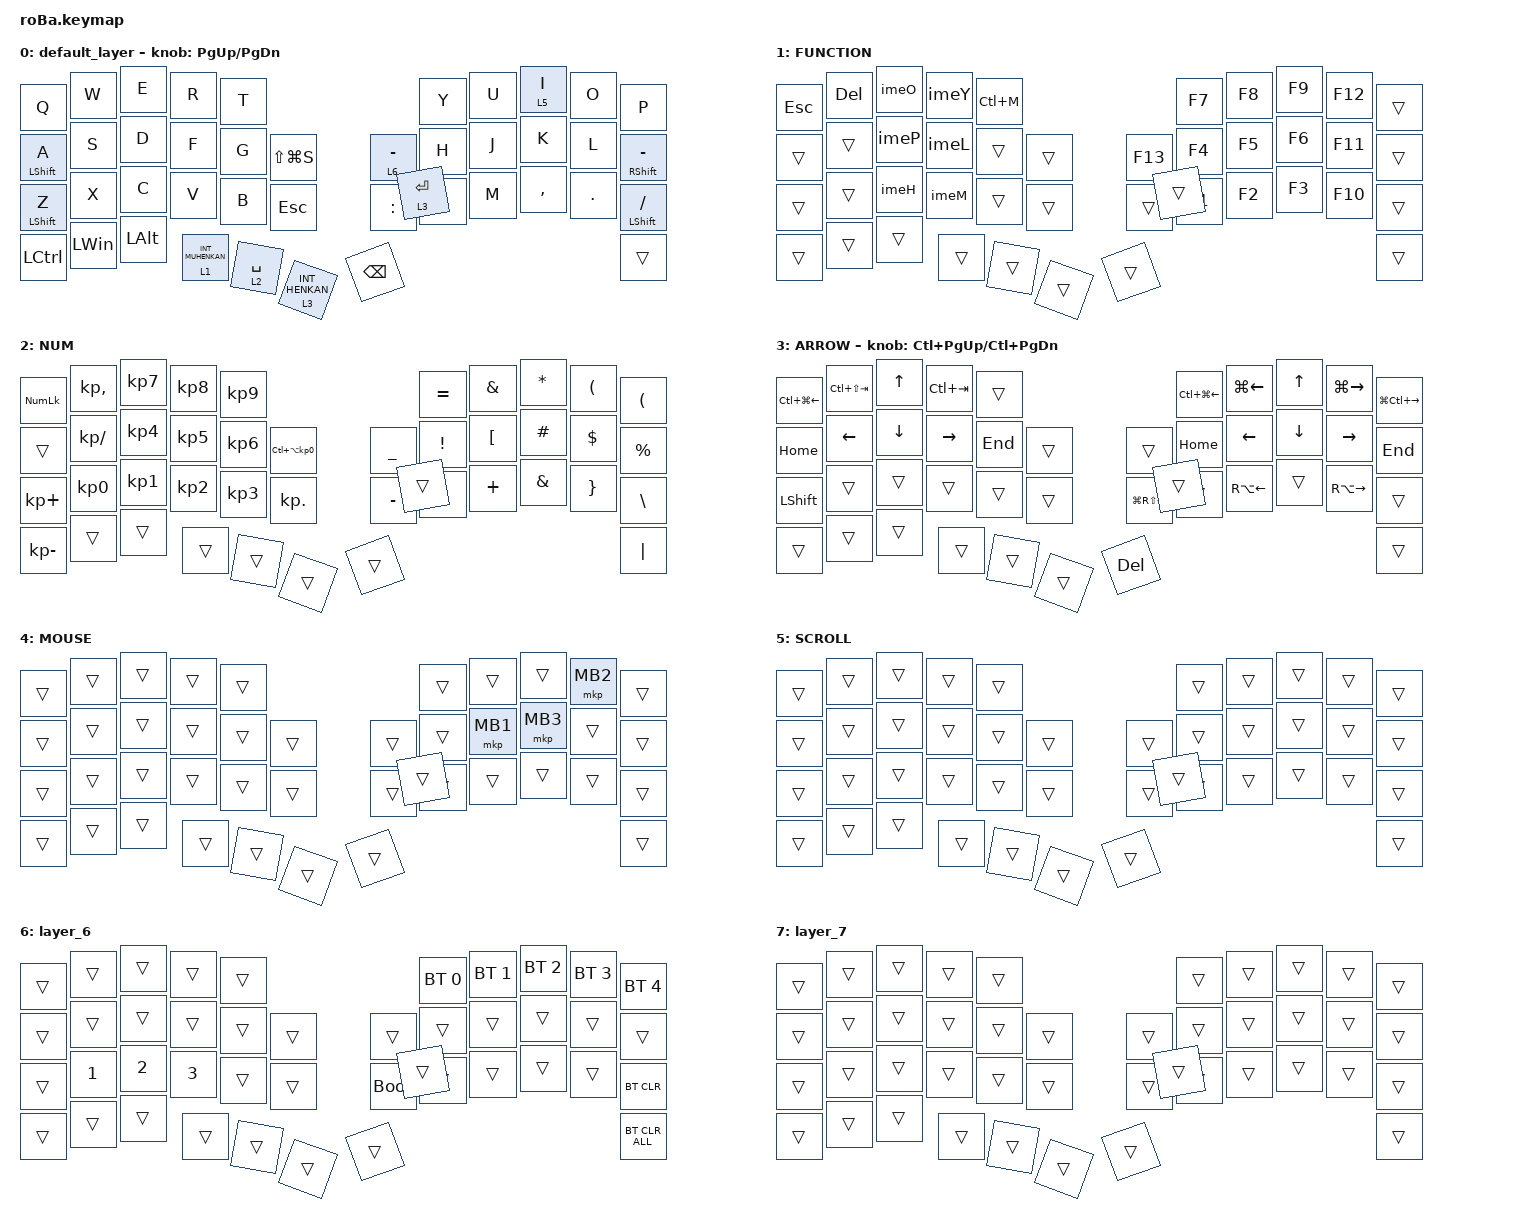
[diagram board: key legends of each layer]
#include <behaviors.dtsi>
#include <dt-bindings/zmk/bt.h>
#include <dt-bindings/zmk/keys.h>
#include <dt-bindings/zmk/pointing.h>

&mt {
    flavor = "balanced";
    quick-tap-ms = <0>;
};

&trackball {
    automouse-layer = <4>;
    scroll-layers = <5>;

    // arrows {
    //     layers = <3>;
    //     bindings =
    //         <&kp RIGHT_ARROW>,
    //         <&kp LEFT_ARROW>,
    //         <&kp UP_ARROW>,
    //         <&kp DOWN_ARROW>;
    //     tick = <10>;
    //     wait-ms = <5>;
    //     tap-ms = <5>;
    // };
};

/ {
    combos {
        compatible = "zmk,combos";

        tab {
            bindings = <&kp TAB>;
            key-positions = <11 12>;
        };

        maiku {
            bindings = <&kp LG(H)>;
            key-positions = <33 42>;
        };
    };

    macros {
        to_layer_0: to_layer_0 {
            compatible = "zmk,behavior-macro-one-param";
            #binding-cells = <1>;
            bindings = <&to 0 &macro_param_1to1 &kp MACRO_PLACEHOLDER>;
            label = "TO_LAYER_0";
        };

        imeM: Mmukennkan {
            compatible = "zmk,behavior-macro";
            #binding-cells = <0>;
            bindings = <&kp INT_MUHENKAN &kp M>;
            label = "MMUKENNKAN";
        };

        imeL: imeL {
            compatible = "zmk,behavior-macro";
            #binding-cells = <0>;
            bindings = <&kp INT_MUHENKAN &kp L>;
            label = "IMEL";
        };

        imeY: imeY {
            compatible = "zmk,behavior-macro";
            #binding-cells = <0>;
            bindings = <&kp INT_MUHENKAN &kp Y>;
            label = "IMEY";
        };

        imeO: imeO {
            compatible = "zmk,behavior-macro";
            #binding-cells = <0>;
            bindings = <&kp INT_MUHENKAN &kp O>;
            label = "IMEO";
        };

        imeP: imeP {
            compatible = "zmk,behavior-macro";
            #binding-cells = <0>;
            bindings = <&kp INT_MUHENKAN &kp P>;
            label = "IMEP";
        };

        imeH: imeH {
            compatible = "zmk,behavior-macro";
            #binding-cells = <0>;
            bindings = <&kp INT_MUHENKAN &kp H>;
            label = "IMEH";
        };
    };

    behaviors {
        lt_to_layer_0: lt_to_layer_0 {
            compatible = "zmk,behavior-hold-tap";
            label = "LAYER_TAP_TO_0";
            bindings = <&mo>, <&to_layer_0>;

            #binding-cells = <2>;
            tapping-term-ms = <200>;
        };
    };

    keymap {
        compatible = "zmk,keymap";

        default_layer {
            bindings = <
&kp Q             &kp W         &kp E         &kp R                          &kp T                                                        &kp Y        &kp U  &lt 5 I    &kp O    &kp P
&mt LEFT_SHIFT A  &kp S         &kp D         &kp F                          &kp G        &kp LS(LG(S))                    &lt 6 MINUS    &kp H        &kp J  &kp K      &kp L    &mt RSHIFT MINUS
&mt LEFT_SHIFT Z  &kp X         &kp C         &kp V                          &kp B        &kp ESC                          &kp COLON      &kp N        &kp M  &kp COMMA  &kp DOT  &mt LEFT_SHIFT SLASH
&kp LCTRL         &kp LEFT_WIN  &kp LEFT_ALT  &lt_to_layer_0 1 INT_MUHENKAN  &lt 2 SPACE  &lt_to_layer_0 3 INT_HENKAN      &kp BACKSPACE  &lt 3 ENTER                             &trans
            >;

            sensor-bindings = <&inc_dec_kp PG_UP PAGE_DOWN>;
        };

        FUNCTION {
            bindings = <
&kp ESCAPE  &kp DEL  &imeO   &imeY   &kp LC(M)                       &kp F7  &kp F8  &kp F9  &kp F12  &trans
&trans      &trans   &imeP   &imeL   &trans     &trans      &kp F13  &kp F4  &kp F5  &kp F6  &kp F11  &trans
&trans      &trans   &imeH   &imeM   &trans     &trans      &trans   &kp F1  &kp F2  &kp F3  &kp F10  &trans
&trans      &trans   &trans  &trans  &trans     &trans      &trans   &trans                           &trans
            >;
        };

        NUM {
            bindings = <
&kp KP_NUMLOCK  &kp KP_COMMA  &kp KP_N7  &kp KP_N8  &kp KP_N9                                               &kp EQUAL          &kp AMPERSAND  &kp ASTERISK   &kp LEFT_PARENTHESIS  &kp LEFT_PARENTHESIS
&trans          &kp KP_SLASH  &kp KP_N4  &kp KP_N5  &kp KP_N6  &kp LC(LA(KP_NUMBER_0))      &kp UNDERSCORE  &kp EXCL           &kp LBKT       &kp HASH       &kp DOLLAR            &kp PERCENT
&kp KP_PLUS     &kp KP_N0     &kp KP_N1  &kp KP_N2  &kp KP_N3  &kp KP_DOT                   &kp MINUS       &kp RIGHT_BRACKET  &kp PLUS       &kp AMPERSAND  &kp RIGHT_BRACE       &kp BACKSLASH
&kp KP_MINUS    &trans        &trans     &trans     &trans     &trans                       &trans          &trans                                                                 &kp PIPE
            >;
        };

        ARROW {
            bindings = <
&kp LC(LG(LEFT_ARROW))  &kp LC(LS(TAB))  &kp UP_ARROW    &kp LC(TAB)      &trans                                       &kp LC(LG(LEFT_ARROW))  &kp LG(LEFT_ARROW)  &kp UP_ARROW    &kp LG(RIGHT_ARROW)  &kp LG(LC(RIGHT_ARROW))
&kp HOME                &kp LEFT_ARROW   &kp DOWN_ARROW  &kp RIGHT_ARROW  &kp END  &trans      &trans                  &kp HOME                &kp LEFT_ARROW      &kp DOWN_ARROW  &kp RIGHT_ARROW      &kp END
&kp LEFT_SHIFT          &trans           &trans          &trans           &trans   &trans      &kp LG(RS(LEFT_ARROW))  &trans                  &kp RA(LEFT_ARROW)  &trans          &kp RA(RIGHT_ARROW)  &trans
&trans                  &trans           &trans          &trans           &trans   &trans      &kp DELETE              &trans                                                                           &trans
            >;

            sensor-bindings = <&inc_dec_kp LC(PAGE_UP) LC(PAGE_DOWN)>;
        };

        MOUSE {
            bindings = <
&trans  &trans  &trans  &trans  &trans                      &trans  &trans    &trans    &mkp MB2  &trans
&trans  &trans  &trans  &trans  &trans  &trans      &trans  &trans  &mkp MB1  &mkp MB3  &trans    &trans
&trans  &trans  &trans  &trans  &trans  &trans      &trans  &trans  &trans    &trans    &trans    &trans
&trans  &trans  &trans  &trans  &trans  &trans      &trans  &trans                                &trans
            >;
        };

        SCROLL {
            bindings = <
&trans  &trans  &trans  &trans  &trans                      &trans  &trans  &trans  &trans  &trans
&trans  &trans  &trans  &trans  &trans  &trans      &trans  &trans  &trans  &trans  &trans  &trans
&trans  &trans  &trans  &trans  &trans  &trans      &trans  &trans  &trans  &trans  &trans  &trans
&trans  &trans  &trans  &trans  &trans  &trans      &trans  &trans                          &trans
            >;
        };

        layer_6 {
            bindings = <
&trans  &trans        &trans        &trans        &trans                           &bt BT_SEL 0  &bt BT_SEL 1  &bt BT_SEL 2  &bt BT_SEL 3  &bt BT_SEL 4
&trans  &trans        &trans        &trans        &trans  &trans      &trans       &trans        &trans        &trans        &trans        &trans
&trans  &kp NUMBER_1  &kp NUMBER_2  &kp NUMBER_3  &trans  &trans      &bootloader  &trans        &trans        &trans        &trans        &bt BT_CLR
&trans  &trans        &trans        &trans        &trans  &trans      &trans       &trans                                                  &bt BT_CLR_ALL
            >;
        };

        layer_7 {
            bindings = <
&trans  &trans  &trans  &trans  &trans                      &trans  &trans  &trans  &trans  &trans
&trans  &trans  &trans  &trans  &trans  &trans      &trans  &trans  &trans  &trans  &trans  &trans
&trans  &trans  &trans  &trans  &trans  &trans      &trans  &trans  &trans  &trans  &trans  &trans
&trans  &trans  &trans  &trans  &trans  &trans      &trans  &trans                          &trans
            >;
        };
    };
};
